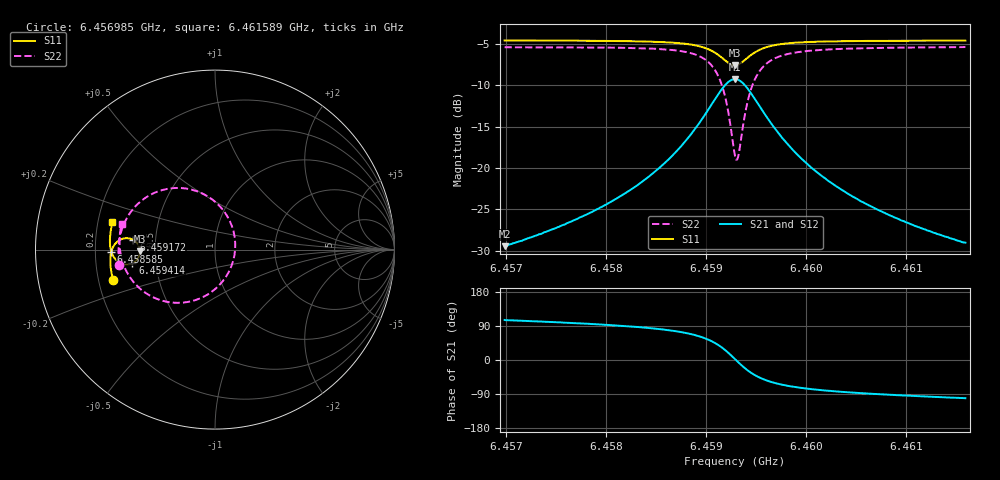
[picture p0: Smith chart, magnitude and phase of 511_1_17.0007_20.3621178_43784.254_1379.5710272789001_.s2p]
#  HZ  S  RI  R  50.00
! Rohde & Schwarz Vector Network Analyzer
! Rohde-Schwarz,ZNB20-2Port,1311601062101988,3.16
! Created: UTC 3/20/2024, 11:14:59 PM
! freq[Hz]  re:S11  im:S11  re:S21  im:S21  re:S12  im:S12  re:S22  im:S22
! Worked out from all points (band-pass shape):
!   401 points, 6.456985 GHz to 6.461589 GHz, reference 50 ohm
!   highest |S21| = -9.24 dB at 6.459287 GHz (marker M1); lowest = -29.5 dB at 6.456985 GHz (marker M2)
!   |S21| within 3 dB of the highest: 6.459057 GHz to 6.459517 GHz (460.8 kHz wide, 0.00713 % of centre)
!   lowest |S11| = -7.6 dB at 6.459287 GHz (marker M3), VSWR 2.44, Z = 20.5 - j0.482 ohm
!   |S11| at or under -10 dB: nowhere
!   |S22| runs from -19.0 to -5.3 dB; largest |S21 - S12| = 0.014
!   S11 on the Smith chart (normalised r, x): 6.456985 GHz: 0.26, -0.14; 6.458585 GHz: 0.27, -0.01; 6.459172 GHz: 0.37, +0.05; 6.459414 GHz: 0.37, -0.07; 6.461589 GHz: 0.26, +0.12
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6.4569847e9  -0.5669 -0.1717  -0.00902 0.0324  -0.00706 0.0325  -0.5321 -0.0843
6.457756e9  -0.5808 -0.1043  -0.00564 0.0504  -0.00296 0.0497  -0.5376 0.0059
6.458205e9  -0.5837 -0.0591  0.000987 0.0713  0.00428 0.0699  -0.5284 0.0776
6.4585273e9  -0.5798 -0.0202  0.0144 0.0986  0.0182 0.096  -0.5039 0.151
6.4585848e9  -0.578 -0.0125  0.0186 0.1056  0.0227 0.1024  -0.4957 0.1677
6.4587921e9  -0.565 0.0196  0.0462 0.1379  0.0502 0.133  -0.4441 0.2404
6.4589417e9  -0.5422 0.0459  0.0913 0.1683  0.0947 0.1616  -0.3607 0.3048
6.4590799e9  -0.4986 0.0634  0.1784 0.1847  0.1795 0.1774  -0.2014 0.3435
6.4591719e9  -0.4541 0.0533  0.2683 0.1535  0.2686 0.1476  -0.0349 0.2931
6.459241e9  -0.4251 0.0212  0.3286 0.0817  0.3309 0.0762  0.0805 0.1636
6.4592871e9  -0.4182 -0.0097  0.3449 0.0138  0.3486 0.00687  0.1126 0.0366
6.4592986e9  -0.4188 -0.0177  0.3448 -0.00391  0.3486 -0.0116  0.1122 0.00307
6.4593216e9  -0.4222 -0.0334  0.3392 -0.0385  0.343 -0.0477  0.1011 -0.0627
6.4593676e9  -0.4379 -0.0594  0.3108 -0.0985  0.3127 -0.1102  0.0434 -0.1757
6.4594137e9  -0.4599 -0.0755  0.2687 -0.1394  0.2677 -0.1527  -0.0416 -0.2508
6.4595058e9  -0.5031 -0.0823  0.1838 -0.1705  0.1776 -0.1819  -0.2105 -0.2966
6.4596554e9  -0.547 -0.0619  0.096 -0.1565  0.0875 -0.1628  -0.3781 -0.2471
6.4598166e9  -0.5684 -0.0341  0.0512 -0.1286  0.0437 -0.1313  -0.4584 -0.175
6.4600584e9  -0.5811 0.00159  0.0222 -0.0971  0.0164 -0.0977  -0.5064 -0.0925
6.4604152e9  -0.5855 0.0438  0.00582 -0.0696  0.00181 -0.0692  -0.528 -0.011
6.4608296e9  -0.5835 0.0852  -0.00157 -0.0517  -0.00433 -0.0509  -0.5319 0.055
6.4615894e9  -0.5713 0.1526  -0.00662 -0.0346  -0.00827 -0.0336  -0.5205 0.1446
